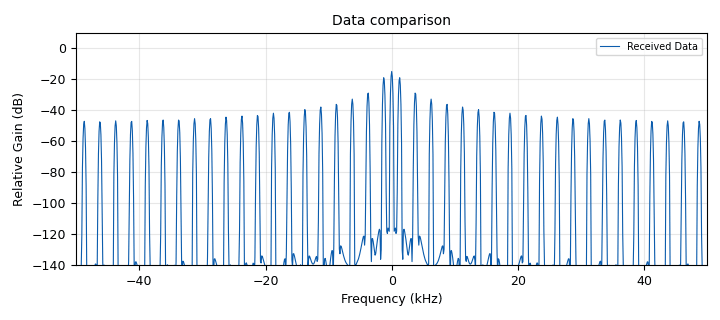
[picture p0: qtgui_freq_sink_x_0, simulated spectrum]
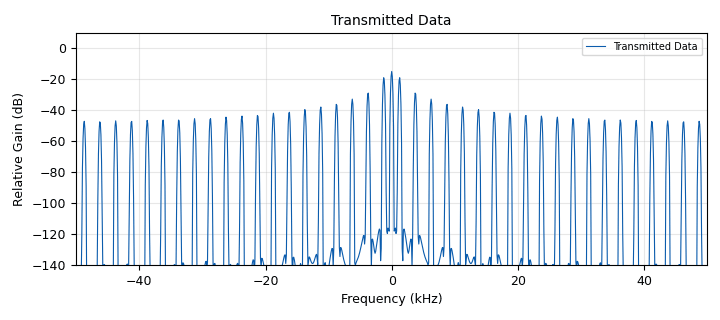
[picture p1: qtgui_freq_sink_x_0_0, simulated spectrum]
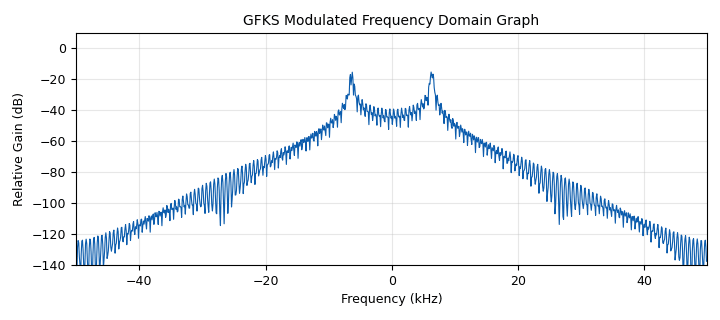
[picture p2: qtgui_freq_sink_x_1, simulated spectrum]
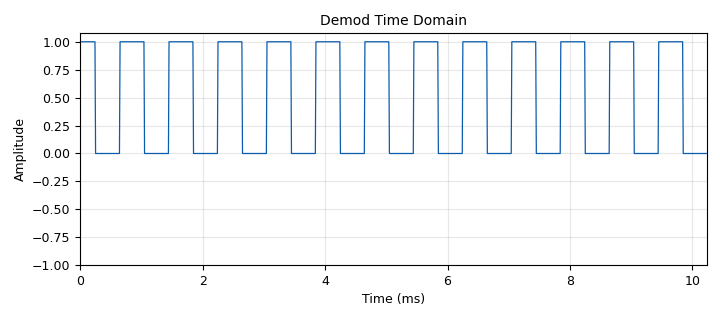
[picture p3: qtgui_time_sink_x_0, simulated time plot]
options:
  parameters:
    generate_options: qt_gui
    id: GFSK_Metrics_test
    output_language: python
    title: Rf Metrics Test
  states: {}

blocks:
- name: center_freq
  id: variable
  parameters:
    value: 915e6
  states: {}
- name: samp_rate
  id: variable
  parameters:
    value: 100e3
  states: {}
- name: variable_0
  id: variable
  parameters:
    value: '0'
  states: {}
- name: blocks_char_to_float_0
  id: blocks_char_to_float
  parameters:
    scale: '1'
  states: {}
- name: blocks_char_to_float_1
  id: blocks_char_to_float
  parameters:
    scale: '1'
  states: {}
- name: blocks_pack_k_bits_bb_1
  id: blocks_pack_k_bits_bb
  parameters:
    k: '8'
  states: {state: disabled}
- name: blocks_throttle2_0
  id: blocks_throttle2
  parameters:
    samples_per_second: 'samp_rate '
    type: byte
  states: {}
- name: blocks_vector_source_x_0
  id: blocks_vector_source_x
  parameters:
    repeat: 'True'
    type: byte
    vector: (1, 1, 1,1,1,1,1,1,1,1,1, 1, 1,1,1,1,1,1,1,1,1, 1, 1,1,1,1,1,1,1,1,1, 1, 1,1,1,1,1,1,1,1,0,0,0,0,0,0,0,0,0,0,0,0,0,0,0,0,0,0,0,0,0,0,0,0,0,0,0,0,0,0,0,0,0,0,0,0,0,0,0,0)
  states: {}
- name: digital_gfsk_demod_0
  id: digital_gfsk_demod
  parameters:
    freq_error: '0.0'
    gain_mu: '0.175'
    mu: '0.5'
    omega_relative_limit: '0.005'
    samples_per_symbol: '4'
    sensitivity: '0.4'
  states: {}
- name: digital_gfsk_mod_0
  id: digital_gfsk_mod
  parameters:
    bt: '0.35'
    do_unpack: 'False'
    samples_per_symbol: '4'
    sensitivity: '0.4'
  states: {}
- name: qtgui_freq_sink_x_0
  id: qtgui_freq_sink_x
  parameters:
    bw: samp_rate
    color1: '"red"'
    fc: '0'
    fftsize: '1024'
    grid: 'True'
    label1: Received Data
    name: '"Data comparison"'
    type: float
  states: {}
- name: qtgui_freq_sink_x_0_0
  id: qtgui_freq_sink_x
  parameters:
    bw: samp_rate
    fc: '0'
    fftsize: '1024'
    grid: 'True'
    label1: Transmitted Data
    name: '"Transmitted Data"'
    type: float
  states: {}
- name: qtgui_freq_sink_x_1
  id: qtgui_freq_sink_x
  parameters:
    bw: samp_rate
    fc: '0'
    fftsize: '1024'
    name: '"GFKS Modulated Frequency Domain Graph"'
    type: complex
  states: {}
- name: qtgui_time_sink_x_0
  id: qtgui_time_sink_x
  parameters:
    name: '"Demod Time Domain"'
    size: '1024'
    srate: samp_rate
    type: float
  states: {}

connections:
- [blocks_char_to_float_0, '0', qtgui_freq_sink_x_0, '0']
- [blocks_char_to_float_0, '0', qtgui_time_sink_x_0, '0']
- [blocks_char_to_float_1, '0', qtgui_freq_sink_x_0_0, '0']
- [blocks_pack_k_bits_bb_1, '0', blocks_char_to_float_0, '0']
- [blocks_throttle2_0, '0', blocks_char_to_float_1, '0']
- [blocks_throttle2_0, '0', digital_gfsk_mod_0, '0']
- [blocks_vector_source_x_0, '0', blocks_throttle2_0, '0']
- [digital_gfsk_demod_0, '0', blocks_char_to_float_0, '0']
- [digital_gfsk_demod_0, '0', blocks_pack_k_bits_bb_1, '0']
- [digital_gfsk_mod_0, '0', digital_gfsk_demod_0, '0']
- [digital_gfsk_mod_0, '0', qtgui_freq_sink_x_1, '0']

metadata:
  file_format: 1
  grc_version: 3.10.11.0
